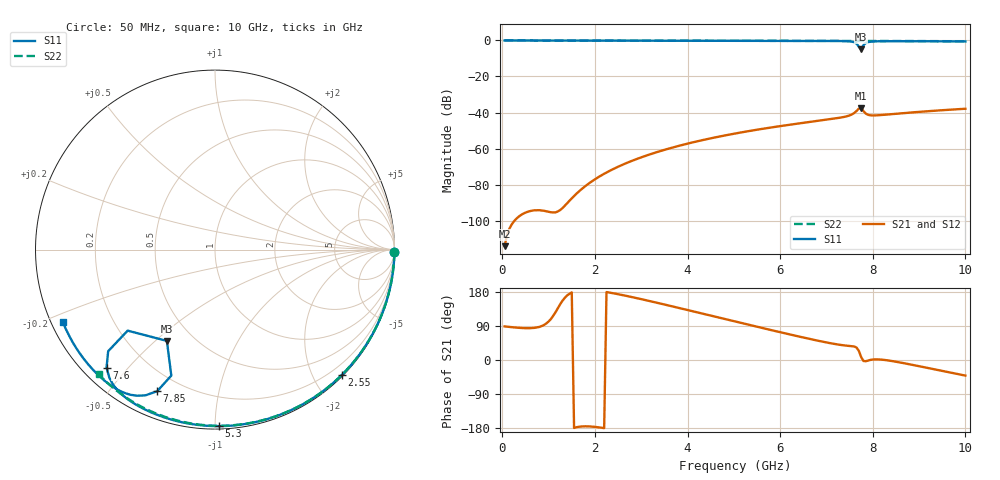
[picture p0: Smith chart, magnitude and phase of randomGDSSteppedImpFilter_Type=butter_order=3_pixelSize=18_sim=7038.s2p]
! freq	dB(S11)	phase(S11)	dB(S12)	phase(S12)
!  dB(S21)	phase(S21)	dB(S22)	phase(S22)
!S-par simulation data
#  GHz  S  DB  R 50
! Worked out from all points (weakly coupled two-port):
!   200 points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, 50 MHz to 10 GHz, reference 50 ohm
!   highest |S21| = -37.66 dB at 7.75 GHz (marker M1); lowest = -114.1 dB at 50 MHz (marker M2)
!   lowest |S11| = -4.8 dB at 7.75 GHz (marker M3), VSWR 3.71, Z = 17.9 - j27.2 ohm
!   |S11| at or under -10 dB: nowhere
!   |S22| runs from -0.4 to 0.0 dB; largest |S21 - S12| = 0
!   S11 on the Smith chart (normalised r, x): 50 MHz: open; 2.55 GHz: 0.02, -2.44; 5.3 GHz: 0.02, -1.02; 7.6 GHz: 0.07, -0.44; 7.85 GHz: 0.12, -0.67; 10 GHz: 0.03, -0.23
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0.05  -0.00 -0.9  -114.14 88.7  -114.14 88.7  -0.00 -0.8
0.9  -0.02 -16.1  -94.51 92.4  -94.51 92.4  -0.02 -13.7
1.75  -0.04 -30.9  -81.70 -175.1  -81.70 -175.1  -0.03 -26.5
1.85  -0.04 -32.7  -79.71 -175.1  -79.71 -175.1  -0.04 -28.0
2.15  -0.05 -37.8  -74.70 -178.8  -74.70 -178.8  -0.04 -32.4
2.55  -0.06 -44.6  -69.49 172.5  -69.49 172.5  -0.05 -38.2
3.4  -0.08 -58.7  -61.47 149.4  -61.47 149.4  -0.07 -50.4
4.2  -0.10 -71.6  -56.02 126.0  -56.02 126.0  -0.09 -61.5
5.05  -0.13 -84.9  -51.53 101.0  -51.53 101.0  -0.11 -72.9
5.3  -0.14 -88.7  -50.39 93.6  -50.39 93.6  -0.12 -76.2
6.7  -0.22 -110.2  -45.03 54.0  -45.03 54.0  -0.18 -94.0
7.35  -0.35 -122.3  -42.59 39.0  -42.59 39.0  -0.22 -101.9
7.5  -0.52 -127.1  -41.58 37.1  -41.58 37.1  -0.23 -103.7
7.6  -0.98 -132.6  -40.26 35.7  -40.26 35.7  -0.23 -104.9
7.65  -1.71 -136.4  -39.13 32.8  -39.13 32.8  -0.24 -105.5
7.7  -3.56 -137.1  -37.79 23.9  -37.79 23.9  -0.24 -106.1
7.75  -4.81 -117.8  -37.66 7.4  -37.66 7.4  -0.24 -106.7
7.8  -2.58 -109.1  -39.25 -2.6  -39.25 -2.6  -0.25 -107.3
7.85  -1.39 -112.2  -40.60 -3.2  -40.60 -3.2  -0.25 -107.9
8  -0.58 -120.1  -41.62 1.3  -41.62 1.3  -0.26 -109.7
8.35  -0.40 -128.7  -41.02 -1.5  -41.02 -1.5  -0.29 -113.8
10  -0.55 -154.6  -37.89 -41.2  -37.89 -41.2  -0.45 -132.9
